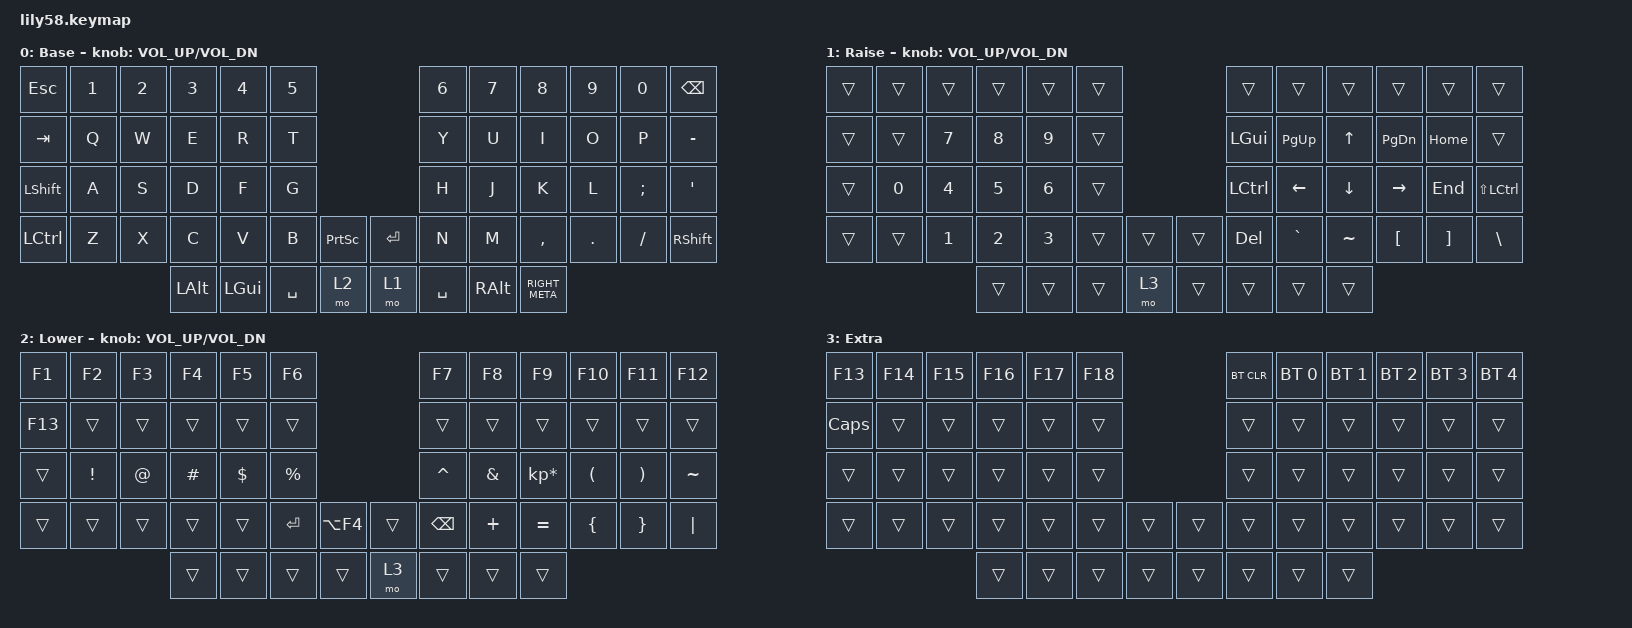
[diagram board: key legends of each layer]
/*
 * Copyright (c) 2020 The ZMK Contributors
 *
 * SPDX-License-Identifier: MIT
 */

#include <behaviors.dtsi>
#include <dt-bindings/zmk/bt.h>
#include <dt-bindings/zmk/keys.h>

/ {
    keymap {
        compatible = "zmk,keymap";

        default_layer {
            // ------------------------------------------------------------------------------------------------------------
            // |  ESC  |  1  |  2  |  3   |  4   |  5   |                   |  6   |  7    |  8    |  9   |   0   |   `   |
            // |  TAB  |  Q  |  W  |  E   |  R   |  T   |                   |  Y   |  U    |  I    |  O   |   P   |   -   |
            // |  CTRL |  A  |  S  |  D   |  F   |  G   |                   |  H   |  J    |  K    |  L   |   ;   |   '   |
            // | SHIFT |  Z  |  X  |  C   |  V   |  B   |   "["  |  |  "]"  |  N   |  M    |  ,    |  .   |   /   | SHIFT |
            //                     | ALT  | GUI  | LOWER|  SPACE |  | ENTER | RAISE| BSPC  | GUI   |

            display-name = "Base";
            bindings = <
&kp ESC         &kp N1  &kp N2  &kp N3        &kp N4        &kp N5                                   &kp N6     &kp N7         &kp N8          &kp N9   &kp N0    &kp BACKSPACE
&kp TAB         &kp Q   &kp W   &kp E         &kp R         &kp T                                    &kp Y      &kp U          &kp I           &kp O    &kp P     &kp MINUS
&kp LEFT_SHIFT  &kp A   &kp S   &kp D         &kp F         &kp G                                    &kp H      &kp J          &kp K           &kp L    &kp SEMI  &kp SQT
&kp LCTRL       &kp Z   &kp X   &kp C         &kp V         &kp B      &kp PRINTSCREEN    &kp ENTER  &kp N      &kp M          &kp COMMA       &kp DOT  &kp FSLH  &kp RSHFT
                                &kp LEFT_ALT  &kp LEFT_GUI  &kp SPACE  &mo 2              &mo 1      &kp SPACE  &kp RIGHT_ALT  &kp RIGHT_META
            >;

            sensor-bindings = <&inc_dec_kp C_VOL_UP C_VOL_DN>;
        };

        raise_layer {
            // ------------------------------------------------------------------------------------------------------------
            // |       |     |     |      |      |      |                   |      |       |       |      |       |       |
            // |   `   |  1  |  2  |  3   |  4   |  5   |                   |  6   |   7   |   8   |  9   |   0   |       |
            // |   F1  |  F2 |  F3 |  F4  |  F5  |  F6  |                   |      |   <-  |   v   |  ^   |  ->   |       |
            // |   F7  |  F8 |  F9 |  F10 |  F11 |  F12 |        |  |       |  +   |   -   |   =   |  [   |   ]   |   \   |
            //                     |      |      |      |        |  |       |      |       |       |

            display-name = "Raise";
            bindings = <
&trans  &trans  &trans  &trans  &trans  &trans                    &trans        &trans          &trans          &trans            &trans             &trans
&trans  &trans  &kp N7  &kp N8  &kp N9  &trans                    &kp LEFT_GUI  &kp PAGE_UP     &kp UP_ARROW    &kp PAGE_DOWN     &kp HOME           &trans
&trans  &kp N0  &kp N4  &kp N5  &kp N6  &trans                    &kp LCTRL     &kp LEFT_ARROW  &kp DOWN_ARROW  &kp RIGHT_ARROW   &kp END            &kp LS(LCTRL)
&trans  &trans  &kp N1  &kp N2  &kp N3  &trans  &trans    &trans  &kp DEL       &kp GRAVE       &kp TILDE       &kp LEFT_BRACKET  &kp RIGHT_BRACKET  &kp BACKSLASH
                        &trans  &trans  &trans  &mo 3     &trans  &trans        &trans          &trans
            >;

            sensor-bindings = <&inc_dec_kp C_VOL_UP C_VOL_DN>;
        };

        lower_layer {
            // ------------------------------------------------------------------------------------------------------------
            // | BTCLR | BT1 | BT2 |  BT3 |  BT4 |  BT5 |                   |      |       |       |      |       |       |
            // |  F1   |  F2 |  F3 |  F4  |  F5  |  F6  |                   |  F7  |  F8   |  F9   |  F10 |  F11  |  F12  |
            // |   `   |  !  |  @  |  #   |  $   |  %   |                   |  ^   |  &    |  *    |  (   |   )   |   ~   |
            // |       |     |     |      |      |      |        |  |       |      |  _    |  +    |  {   |   }   |  "|"  |
            //                     |      |      |      |        |  |       |      |       |       |

            display-name = "Lower";
            bindings = <
&kp F1   &kp F2    &kp F3  &kp F4    &kp F5      &kp F6                            &kp F7         &kp F8    &kp F9           &kp F10   &kp F11   &kp F12
&kp F13  &trans    &trans  &trans    &trans      &trans                            &trans         &trans    &trans           &trans    &trans    &trans
&trans   &kp EXCL  &kp AT  &kp HASH  &kp DOLLAR  &kp PRCNT                         &kp CARET      &kp AMPS  &kp KP_MULTIPLY  &kp LPAR  &kp RPAR  &kp TILDE
&trans   &trans    &trans  &trans    &trans      &kp RETURN  &kp LA(F4)    &trans  &kp BACKSPACE  &kp PLUS  &kp EQUAL        &kp LBRC  &kp RBRC  &kp PIPE
                           &trans    &trans      &trans      &trans        &mo 3   &trans         &trans    &trans
            >;

            sensor-bindings = <&inc_dec_kp C_VOL_UP C_VOL_DN>;
        };

        extra_layer {
            bindings = <
&kp F13   &kp F14  &kp F15  &kp F16  &kp F17  &kp F18                    &bt BT_CLR  &bt BT_SEL 0  &bt BT_SEL 1  &bt BT_SEL 2  &bt BT_SEL 3  &bt BT_SEL 4
&kp CAPS  &trans   &trans   &trans   &trans   &trans                     &trans      &trans        &trans        &trans        &trans        &trans
&trans    &trans   &trans   &trans   &trans   &trans                     &trans      &trans        &trans        &trans        &trans        &trans
&trans    &trans   &trans   &trans   &trans   &trans   &trans    &trans  &trans      &trans        &trans        &trans        &trans        &trans
                            &trans   &trans   &trans   &trans    &trans  &trans      &trans        &trans
            >;

            label = "Extra";
        };
    };
};
